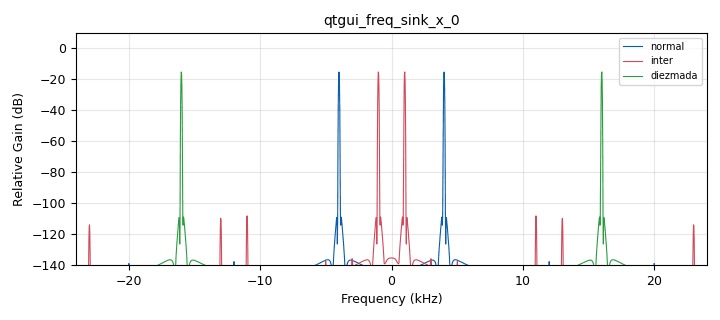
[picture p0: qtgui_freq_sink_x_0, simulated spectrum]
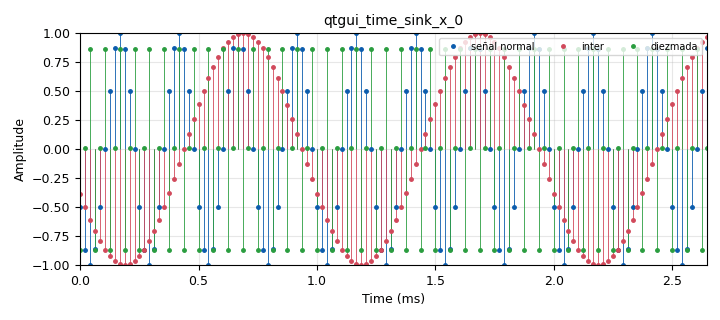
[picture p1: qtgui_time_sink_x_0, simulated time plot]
options:
  parameters:
    author: denilson
    generate_options: qt_gui
    id: diezmado_interpolado
    output_language: python
    title: Not titled yet
  states: {}

blocks:
- name: frecuencia
  id: variable_qtgui_range
  parameters:
    label: frecuency
    start: '1000'
    step: '1000'
    stop: '40000'
    value: '4000'
  states: {}
- name: samp_rate
  id: variable
  parameters:
    value: '48000'
  states: {}
- name: analog_sig_source_x_0
  id: analog_sig_source_x
  parameters:
    amp: '1'
    freq: frecuencia
    offset: '0'
    phase: '0'
    samp_rate: samp_rate
    type: float
    waveform: analog.GR_COS_WAVE
  states: {}
- name: analog_sig_source_x_0_0
  id: analog_sig_source_x
  parameters:
    amp: '1'
    freq: frecuencia
    offset: '0'
    phase: '0'
    samp_rate: samp_rate
    type: float
    waveform: analog.GR_COS_WAVE
  states: {}
- name: analog_sig_source_x_0_1
  id: analog_sig_source_x
  parameters:
    amp: '1'
    freq: frecuencia
    offset: '0'
    phase: '0'
    samp_rate: samp_rate
    type: float
    waveform: analog.GR_COS_WAVE
  states: {}
- name: blocks_throttle_0
  id: blocks_throttle
  parameters:
    samples_per_second: samp_rate
    type: float
  states: {}
- name: qtgui_freq_sink_x_0
  id: qtgui_freq_sink_x
  parameters:
    average: '0.05'
    bw: samp_rate
    fc: '0'
    fftsize: '2048'
    label1: normal
    label2: inter
    label3: diezmada
    nconnections: '3'
    type: float
  states: {}
- name: qtgui_time_sink_x_0
  id: qtgui_time_sink_x
  parameters:
    color1: red
    color2: black
    grid: 'True'
    label1: señal normal
    label2: inter
    label3: diezmada
    marker1: '0'
    nconnections: '3'
    size: '128'
    srate: samp_rate
    stemplot: 'True'
    style1: '2'
    type: float
  states: {}
- name: rational_resampler_xxx_0
  id: rational_resampler_xxx
  parameters:
    decim: '1'
    interp: '1'
    type: fff
  states: {}
- name: rational_resampler_xxx_1
  id: rational_resampler_xxx
  parameters:
    decim: '1'
    interp: '4'
    type: fff
  states: {}
- name: rational_resampler_xxx_2
  id: rational_resampler_xxx
  parameters:
    decim: '4'
    interp: '1'
    type: fff
  states: {}

connections:
- [analog_sig_source_x_0, '0', rational_resampler_xxx_0, '0']
- [analog_sig_source_x_0_0, '0', rational_resampler_xxx_1, '0']
- [analog_sig_source_x_0_1, '0', rational_resampler_xxx_2, '0']
- [blocks_throttle_0, '0', qtgui_freq_sink_x_0, '0']
- [blocks_throttle_0, '0', qtgui_time_sink_x_0, '0']
- [rational_resampler_xxx_0, '0', blocks_throttle_0, '0']
- [rational_resampler_xxx_1, '0', qtgui_freq_sink_x_0, '1']
- [rational_resampler_xxx_1, '0', qtgui_time_sink_x_0, '1']
- [rational_resampler_xxx_2, '0', qtgui_freq_sink_x_0, '2']
- [rational_resampler_xxx_2, '0', qtgui_time_sink_x_0, '2']

metadata:
  file_format: 1
  grc_version: 3.10.5.1
